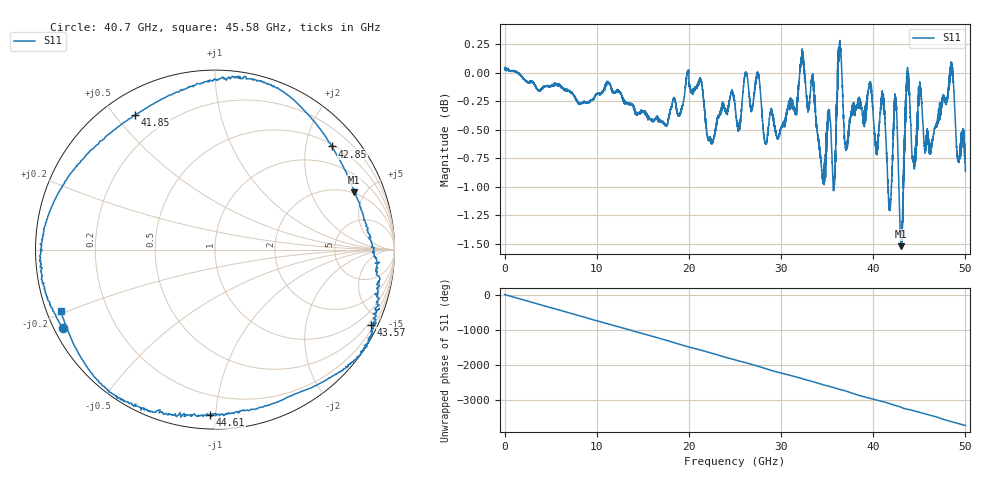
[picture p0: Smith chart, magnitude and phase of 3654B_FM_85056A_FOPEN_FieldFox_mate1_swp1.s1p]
!Created with skrf (http://scikit-rf.org).
# Hz S RI R 50.0
!freq ReS11 ImS11
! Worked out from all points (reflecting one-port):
!   10001 points, 300 kHz to 50 GHz, reference 50 ohm
!   lowest |S11| = -1.5 dB at 43.03 GHz (marker M1), VSWR 11.44, Z = 97.2 + j210 ohm
!   phase of S11 starts at 0 deg and turns -3733 deg over the sweep
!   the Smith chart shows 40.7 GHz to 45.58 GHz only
!   S11 on the Smith chart (normalised r, x): 40.7 GHz: 0.03, -0.24; 41.85 GHz: 0.09, +0.57; 42.85 GHz: 0.54, +2.55; 43.57 GHz: 0.34, -4.35; 44.61 GHz: 0.08, -0.97; 45.58 GHz: 0.04, -0.19
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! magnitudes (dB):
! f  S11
! 300 kHz  0.0
! 6.25 GHz  -0.1
! 12.5 GHz  -0.2
! 18.75 GHz  -0.4
! 25 GHz  -0.3
! 28.34 GHz  -0.6
! 31.25 GHz  -0.3
! 32.32 GHz  0.1
! 34.47 GHz  -0.9
! 35.2 GHz  -0.3
! 35.7 GHz  -1.0
! 36.38 GHz  0.3
! 37 GHz  -0.7
! 37.5 GHz  -0.4
! 40.7 GHz  -0.4
! 41.11 GHz  -0.3
! 41.85 GHz  -1.2
! 42.4 GHz  -0.2
! 42.85 GHz  -1.2
! 43.03 GHz  -1.5
! 43.57 GHz  -0.3
! 43.75 GHz  0.0
! 44.61 GHz  -0.7
! 45.09 GHz  -0.1
! 45.58 GHz  -0.7
! 48.47 GHz  0.1
! 49.18 GHz  -0.8
! 50 GHz  -0.9
